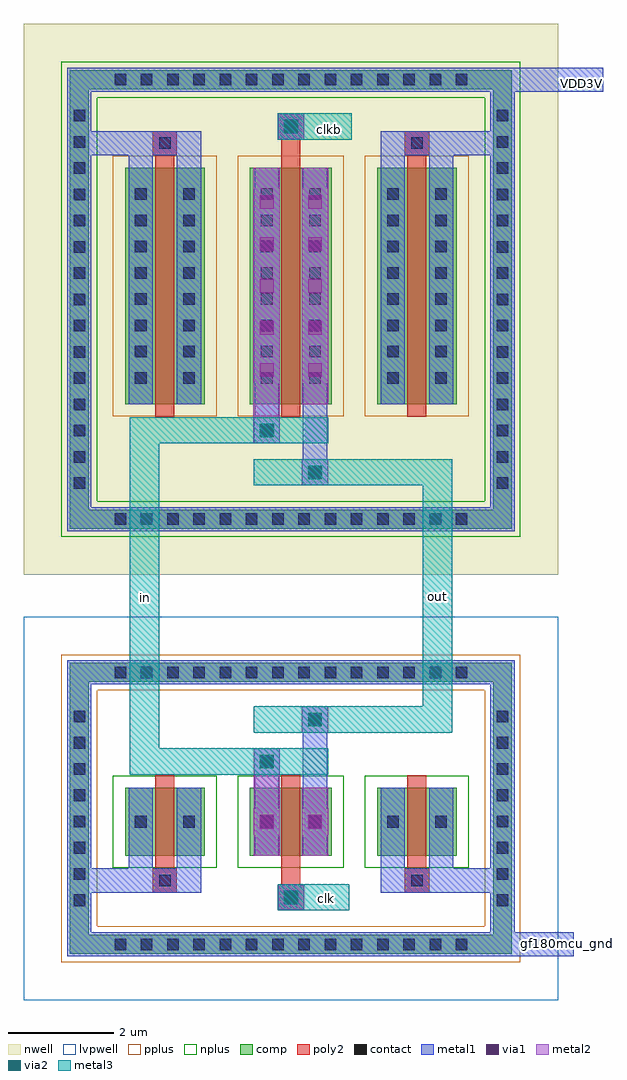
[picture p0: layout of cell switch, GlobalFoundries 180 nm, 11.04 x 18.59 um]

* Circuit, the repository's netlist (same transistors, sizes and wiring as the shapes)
** sch_path: /foss/designs/core_pga/switch/switch.sch
.subckt switch VDD3V3 gf180mcu_gnd in out clk clkb
*.PININFO gf180mcu_gnd:B VDD3V3:B clk:I clkb:I in:B out:B
M5 in clkb out VDD3V3 pfet_03v3 L=0.36u W=4.5u nf=1
M7 out clk in gf180mcu_gnd nfet_03v3 L=0.36u W=1.3u nf=1
M1 VDD3V3 VDD3V3 VDD3V3 VDD3V3 pfet_03v3 L=0.36u W=4.5u nf=1 m=2
M2 gf180mcu_gnd gf180mcu_gnd gf180mcu_gnd gf180mcu_gnd nfet_03v3 L=0.36u W=1.3u nf=1 m=2
.ends

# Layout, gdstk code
import gdstk
lib = gdstk.Library(unit=1e-6, precision=5e-09)
def R(c, l, rs):  # rectangles x0, y0, x1, y1
    for r in rs: c.add(gdstk.rectangle(r[:2], r[2:], *l))
def A(c, l, x, y, w, h, nx, ny, dx, dy):  # array of equal rectangles
    R(c, l, [(x+i*dx, y+j*dy, x+i*dx+w, y+j*dy+h) for i in range(nx) for j in range(ny)])
def P(c, l, *ps):  # polygons
    for p in ps: c.add(gdstk.Polygon(p, *l))
nwell = (21, 0)
comp = (22, 0)
poly2 = (30, 0)
pplus = (31, 0)
nplus = (32, 0)
contact = (33, 0)
metal1 = (34, 0)
via1 = (35, 0)
metal2 = (36, 0)
via2 = (38, 0)
metal3 = (42, 0)
lvpwell = (204, 0)

unnamed_5acb1a93 = lib.new_cell('Unnamed_5acb1a93')
R(unnamed_5acb1a93, nwell, [(-4.49,-4.645,4.49,4.645)])
A(unnamed_5acb1a93, comp, -3.43, -4.365, 0.36, 0.36, 14, 2, 0.5, 8.37)
A(unnamed_5acb1a93, comp, -4.21, -3.68, 0.36, 0.36, 1, 15, 0, 0.5)
A(unnamed_5acb1a93, comp, 3.85, -3.68, 0.36, 0.36, 1, 15, 0, 0.5)
R(unnamed_5acb1a93, comp, [(-3.43,-4.365,3.43,-4.005), (-4.21,-3.68,-3.85,3.68), (3.85,-3.68,4.21,3.68), (-3.16,-2.505,-1.64,1.995), (-0.78,-2.505,0.78,1.995), (1.64,-2.505,3.16,1.995), (-3.43,4.005,3.43,4.365)])
P(unnamed_5acb1a93, comp, [(-4.21,-4.365),(-4.21,-4.005),(-3.85,-4.005),(3.85,-4.005),(3.85,4.005),(-3.85,4.005),(-3.85,-4.005),(-4.21,-4.005),(-4.21,4.365),(4.21,4.365),(4.21,-4.365)])
A(unnamed_5acb1a93, poly2, -2.58, -2.745, 0.36, 4.98, 3, 1, 2.4, 0)
R(unnamed_5acb1a93, poly2, [(-0.25,-3.545,0.25,-3.045), (-0.18,-3.475,0.18,-3.115), (-2.63,-3.205,-2.17,-2.745), (2.17,-3.205,2.63,-2.745), (-2.58,-3.155,-2.22,-2.795), (2.22,-3.155,2.58,-2.795), (-0.18,-3.045,0.18,-2.745)])
R(unnamed_5acb1a93, pplus, [(-3.39,-2.735,-1.41,2.225), (-1.01,-2.735,1.01,2.225), (1.41,-2.735,3.39,2.225)])
P(unnamed_5acb1a93, nplus, [(-4.37,-4.525),(-4.37,-3.845),(-3.69,-3.845),(3.69,-3.845),(3.69,3.845),(-3.69,3.845),(-3.69,-3.845),(-4.37,-3.845),(-4.37,4.525),(4.37,4.525),(4.37,-4.525)])
A(unnamed_5acb1a93, contact, -3.36, -4.295, 0.22, 0.22, 14, 2, 0.5, 8.37)
A(unnamed_5acb1a93, contact, -4.14, -3.61, 0.22, 0.22, 1, 15, 0, 0.5)
A(unnamed_5acb1a93, contact, 3.92, -3.61, 0.22, 0.22, 1, 15, 0, 0.5)
A(unnamed_5acb1a93, contact, -2.97, -2.115, 0.22, 0.22, 1, 8, 0, 0.5)
A(unnamed_5acb1a93, contact, -2.05, -2.115, 0.22, 0.22, 1, 8, 0, 0.5)
A(unnamed_5acb1a93, contact, -0.57, -2.115, 0.22, 0.22, 1, 8, 0, 0.5)
A(unnamed_5acb1a93, contact, 0.35, -2.115, 0.22, 0.22, 1, 8, 0, 0.5)
A(unnamed_5acb1a93, contact, 1.83, -2.115, 0.22, 0.22, 1, 8, 0, 0.5)
A(unnamed_5acb1a93, contact, 2.75, -2.115, 0.22, 0.22, 1, 8, 0, 0.5)
R(unnamed_5acb1a93, contact, [(-0.11,-3.405,0.11,-3.185), (-2.51,-3.085,-2.29,-2.865), (2.29,-3.085,2.51,-2.865)])
A(unnamed_5acb1a93, metal1, -3.48, -4.415, 0.46, 0.46, 14, 2, 0.5, 8.37)
A(unnamed_5acb1a93, metal1, -4.26, -3.73, 0.46, 0.46, 1, 15, 0, 0.5)
A(unnamed_5acb1a93, metal1, 3.8, -3.73, 0.46, 0.46, 1, 15, 0, 0.5)
A(unnamed_5acb1a93, metal1, -3.09, -3.205, 0.46, 0.46, 3, 1, 0.46, 0)
A(unnamed_5acb1a93, metal1, 1.71, -3.205, 0.46, 0.46, 3, 1, 0.46, 0)
A(unnamed_5acb1a93, metal1, -3.09, -2.235, 0.46, 0.46, 1, 8, 0, 0.5)
A(unnamed_5acb1a93, metal1, -2.17, -2.235, 0.46, 0.46, 1, 8, 0, 0.5)
A(unnamed_5acb1a93, metal1, -0.69, -2.235, 0.46, 0.46, 1, 8, 0, 0.5)
A(unnamed_5acb1a93, metal1, 0.23, -2.235, 0.46, 0.46, 1, 8, 0, 0.5)
A(unnamed_5acb1a93, metal1, 1.71, -2.235, 0.46, 0.46, 1, 8, 0, 0.5)
A(unnamed_5acb1a93, metal1, 2.63, -2.235, 0.46, 0.46, 1, 8, 0, 0.5)
A(unnamed_5acb1a93, metal1, -0.71, -2.105, 0.5, 0.5, 1, 5, 0, 0.8)
A(unnamed_5acb1a93, metal1, 0.21, -2.105, 0.5, 0.5, 1, 5, 0, 0.8)
R(unnamed_5acb1a93, metal1, [(-4.26,-4.415,-3.85,-3.955), (-4.26,-4.415,-3.8,-4.005), (-3.85,-4.415,3.85,-3.955), (3.8,-4.415,4.26,-4.005), (3.85,-4.415,4.26,-3.955), (-4.26,-4.005,-3.8,4.005), (3.8,-4.005,4.26,4.005), (-0.25,-3.545,0.25,-3.045), (-4.26,-3.205,-2.63,-2.745), (-3.09,-3.205,-2.63,-2.505), (-2.17,-3.205,-1.71,-2.505), (1.71,-3.205,2.17,-2.505), (2.17,-3.205,4.26,-2.745), (2.63,-3.205,3.09,-2.505), (-3.09,-2.505,-2.63,1.995), (-2.17,-2.505,-1.71,1.995), (-0.69,-2.505,-0.23,1.995), (0.23,-2.505,0.69,1.995), (1.71,-2.505,2.17,1.995), (2.63,-2.505,3.09,1.995), (-0.71,-2.105,-0.21,1.595), (0.21,-2.105,0.71,1.595), (-0.69,1.995,-0.23,2.745), (0.23,1.995,0.69,3.545), (-0.71,2.245,-0.21,2.745), (0.21,3.045,0.71,3.545), (-4.26,3.955,-3.85,4.415), (-3.85,3.955,3.85,4.415), (3.85,3.955,4.26,4.415), (-4.26,4.005,-3.8,4.415), (3.8,4.005,4.26,4.415)])
A(unnamed_5acb1a93, via1, -0.59, -1.985, 0.26, 0.26, 1, 5, 0, 0.8)
A(unnamed_5acb1a93, via1, 0.33, -1.985, 0.26, 0.26, 1, 5, 0, 0.8)
R(unnamed_5acb1a93, via1, [(-0.13,-3.425,0.13,-3.165), (-0.59,2.365,-0.33,2.625), (0.33,3.165,0.59,3.425)])
A(unnamed_5acb1a93, metal2, -0.71, -2.105, 0.5, 0.5, 1, 5, 0, 0.8)
A(unnamed_5acb1a93, metal2, 0.21, -2.105, 0.5, 0.5, 1, 5, 0, 0.8)
R(unnamed_5acb1a93, metal2, [(-0.25,-3.545,0.25,-3.045), (-0.71,-2.505,-0.21,1.995), (0.21,-2.505,0.71,1.995), (-0.71,2.245,-0.21,2.745), (0.21,3.045,0.71,3.545)])
R(unnamed_5acb1a93, via2, [(-0.13,-3.425,0.13,-3.165), (-0.59,2.365,-0.33,2.625), (0.33,3.165,0.59,3.425)])
R(unnamed_5acb1a93, metal3, [(-0.25,-3.545,0.25,-3.045), (-0.25,-3.545,0.25,-3.045), (-0.71,2.245,-0.21,2.745), (-0.71,2.245,0.71,2.745), (-0.71,3.045,0.71,3.545), (0.21,3.045,0.71,3.545)])

unnamed_6f5da526 = lib.new_cell('Unnamed_6f5da526')
A(unnamed_6f5da526, comp, -3.43, -2.77, 0.36, 0.36, 14, 2, 0.5, 5.18)
A(unnamed_6f5da526, comp, -4.21, -1.93, 0.36, 0.36, 1, 8, 0, 0.5)
A(unnamed_6f5da526, comp, 3.85, -1.93, 0.36, 0.36, 1, 8, 0, 0.5)
R(unnamed_6f5da526, comp, [(-3.43,-2.77,3.43,-2.41), (-4.21,-1.93,-3.85,1.93), (3.85,-1.93,4.21,1.93), (-3.16,-0.905,-1.64,0.395), (-0.78,-0.905,0.78,0.395), (1.64,-0.905,3.16,0.395), (-3.43,2.41,3.43,2.77)])
P(unnamed_6f5da526, comp, [(-4.21,-2.77),(-4.21,-2.41),(-3.85,-2.41),(3.85,-2.41),(3.85,2.41),(-3.85,2.41),(-3.85,-2.41),(-4.21,-2.41),(-4.21,2.77),(4.21,2.77),(4.21,-2.77)])
A(unnamed_6f5da526, poly2, -2.58, -1.145, 0.36, 1.78, 3, 1, 2.4, 0)
R(unnamed_6f5da526, poly2, [(-0.25,-1.945,0.25,-1.445), (-0.18,-1.875,0.18,-1.515), (-2.63,-1.605,-2.17,-1.145), (2.17,-1.605,2.63,-1.145), (-2.58,-1.555,-2.22,-1.195), (2.22,-1.555,2.58,-1.195), (-0.18,-1.445,0.18,-1.145)])
P(unnamed_6f5da526, pplus, [(-4.37,-2.93),(-4.37,-2.25),(-3.69,-2.25),(3.69,-2.25),(3.69,2.25),(-3.69,2.25),(-3.69,-2.25),(-4.37,-2.25),(-4.37,2.93),(4.37,2.93),(4.37,-2.93)])
R(unnamed_6f5da526, nplus, [(-3.39,-1.135,-1.41,0.625), (-1.01,-1.135,1.01,0.625), (1.41,-1.135,3.39,0.625)])
A(unnamed_6f5da526, contact, -3.36, -2.7, 0.22, 0.22, 14, 2, 0.5, 5.18)
A(unnamed_6f5da526, contact, -4.14, -1.86, 0.22, 0.22, 1, 8, 0, 0.5)
A(unnamed_6f5da526, contact, 3.92, -1.86, 0.22, 0.22, 1, 8, 0, 0.5)
R(unnamed_6f5da526, contact, [(-0.11,-1.805,0.11,-1.585), (-2.51,-1.485,-2.29,-1.265), (2.29,-1.485,2.51,-1.265), (-2.97,-0.365,-2.75,-0.145), (-2.05,-0.365,-1.83,-0.145), (-0.57,-0.365,-0.35,-0.145), (0.35,-0.365,0.57,-0.145), (1.83,-0.365,2.05,-0.145), (2.75,-0.365,2.97,-0.145)])
A(unnamed_6f5da526, metal1, -3.48, -2.82, 0.46, 0.46, 14, 2, 0.5, 5.18)
A(unnamed_6f5da526, metal1, -4.26, -1.98, 0.46, 0.46, 1, 8, 0, 0.5)
A(unnamed_6f5da526, metal1, 3.8, -1.98, 0.46, 0.46, 1, 8, 0, 0.5)
A(unnamed_6f5da526, metal1, -3.09, -1.605, 0.46, 0.46, 3, 1, 0.46, 0)
A(unnamed_6f5da526, metal1, 1.71, -1.605, 0.46, 0.46, 3, 1, 0.46, 0)
R(unnamed_6f5da526, metal1, [(-4.26,-2.82,-3.85,-2.36), (-4.26,-2.82,-3.8,-2.41), (-3.85,-2.82,3.85,-2.36), (3.8,-2.82,4.26,-2.41), (3.85,-2.82,4.26,-2.36), (-4.26,-2.41,-3.8,2.41), (3.8,-2.41,4.26,2.41), (-0.25,-1.945,0.25,-1.445), (-4.26,-1.605,-2.63,-1.145), (-3.09,-1.605,-2.63,-0.905), (-2.17,-1.605,-1.71,-0.905), (1.71,-1.605,2.17,-0.905), (2.17,-1.605,4.26,-1.145), (2.63,-1.605,3.09,-0.905), (-3.09,-0.905,-2.63,0.395), (-2.17,-0.905,-1.71,0.395), (-0.69,-0.905,-0.23,0.395), (0.23,-0.905,0.69,0.395), (1.71,-0.905,2.17,0.395), (2.63,-0.905,3.09,0.395), (-0.71,-0.505,-0.21,-0.005), (-0.71,-0.505,-0.21,-0.005), (0.21,-0.505,0.71,-0.005), (0.21,-0.505,0.71,-0.005), (-3.09,-0.485,-2.63,-0.025), (-2.17,-0.485,-1.71,-0.025), (-0.69,-0.485,-0.23,-0.025), (0.23,-0.485,0.69,-0.025), (1.71,-0.485,2.17,-0.025), (2.63,-0.485,3.09,-0.025), (-0.69,0.395,-0.23,1.145), (0.23,0.395,0.69,1.945), (-0.71,0.645,-0.21,1.145), (0.21,1.445,0.71,1.945), (-4.26,2.36,-3.85,2.82), (-3.85,2.36,3.85,2.82), (3.85,2.36,4.26,2.82), (-4.26,2.41,-3.8,2.82), (3.8,2.41,4.26,2.82)])
R(unnamed_6f5da526, via1, [(-0.13,-1.825,0.13,-1.565), (-0.59,-0.385,-0.33,-0.125), (0.33,-0.385,0.59,-0.125), (-0.59,0.765,-0.33,1.025), (0.33,1.565,0.59,1.825)])
R(unnamed_6f5da526, metal2, [(-0.25,-1.945,0.25,-1.445), (-0.71,-0.905,-0.21,0.395), (0.21,-0.905,0.71,0.395), (-0.71,-0.505,-0.21,-0.005), (0.21,-0.505,0.71,-0.005), (-0.71,0.645,-0.21,1.145), (0.21,1.445,0.71,1.945)])
R(unnamed_6f5da526, via2, [(-0.13,-1.825,0.13,-1.565), (-0.59,0.765,-0.33,1.025), (0.33,1.565,0.59,1.825)])
R(unnamed_6f5da526, metal3, [(-0.25,-1.945,0.25,-1.445), (-0.25,-1.945,0.25,-1.445), (-0.71,0.645,-0.21,1.145), (-0.71,0.645,0.71,1.145), (-0.71,1.445,0.71,1.945), (0.21,1.445,0.71,1.945)])
R(unnamed_6f5da526, lvpwell, [(-4.49,-3.05,4.49,3.05)])

c_route_c792315c_10 = lib.new_cell('c_route_c792315c$10')
R(c_route_c792315c_10, metal3, [(-3.07,-9.05,-0.71,-8.55), (-3.07,-9.05,-2.51,-8.49), (-3.07,-9.05,-2.51,-2.245), (-3.07,-2.805,-2.51,-2.245), (-3.07,-2.745,-0.71,-2.245)])
P(c_route_c792315c_10, metal3, [(-2.51,-9.05),(-2.51,-8.49),(-2.51,-8.49),(-2.51,-9.05)],
  [(-2.51,-2.805),(-2.51,-2.245),(-2.51,-2.245),(-2.51,-2.805)])

c_route_eaf2b499_10 = lib.new_cell('c_route_eaf2b499$10')
R(c_route_eaf2b499_10, metal3, [(0.71,-8.25,3.07,-7.75), (2.51,-8.25,3.07,-7.69), (2.51,-8.25,3.07,-3.045), (2.51,-3.605,3.07,-3.045), (0.71,-3.545,3.07,-3.045)])
P(c_route_eaf2b499_10, metal3, [(3.07,-8.25),(3.07,-7.69),(3.07,-7.69),(3.07,-8.25)],
  [(3.07,-3.605),(3.07,-3.045),(3.07,-3.045),(3.07,-3.605)])

switch = lib.new_cell('switch')
R(switch, nwell, [(-5.09,-5.245,5.09,5.245)])
R(switch, metal1, [(3.43,-12.515,5.39,-12.055), (3.13,3.955,5.95,4.415)])
R(switch, metal2, [(-0.71,-10.6,-0.21,-8.55), (-0.72,-2.745,-0.21,2.505)])
R(switch, metal3, [(-0.25,-11.64,1.11,-11.14), (-0.25,3.045,1.16,3.545)])
R(switch, lvpwell, [(-5.09,-13.345,5.09,-6.045)])
switch.add(gdstk.Reference(unnamed_5acb1a93, (0,0), x_reflection=True))
switch.add(gdstk.Reference(unnamed_6f5da526, (0,-9.695)))
switch.add(gdstk.Reference(c_route_c792315c_10, (0,0)))
switch.add(gdstk.Reference(c_route_eaf2b499_10, (0,0)))
switch.add(gdstk.Label('gf180mcu_gnd', (5.27,-12.27), layer=34, texttype=10))
switch.add(gdstk.Label('VDD3V', (5.54,4.12), layer=34, texttype=10))
switch.add(gdstk.Label('in', (-2.77,-5.68), layer=42, texttype=10))
switch.add(gdstk.Label('out', (2.79,-5.65), layer=42, texttype=10))
switch.add(gdstk.Label('clk', (0.67,-11.42), layer=42, texttype=10))
switch.add(gdstk.Label('clkb', (0.74,3.23), layer=42, texttype=10))

lib.write_gds('switch.gds')
